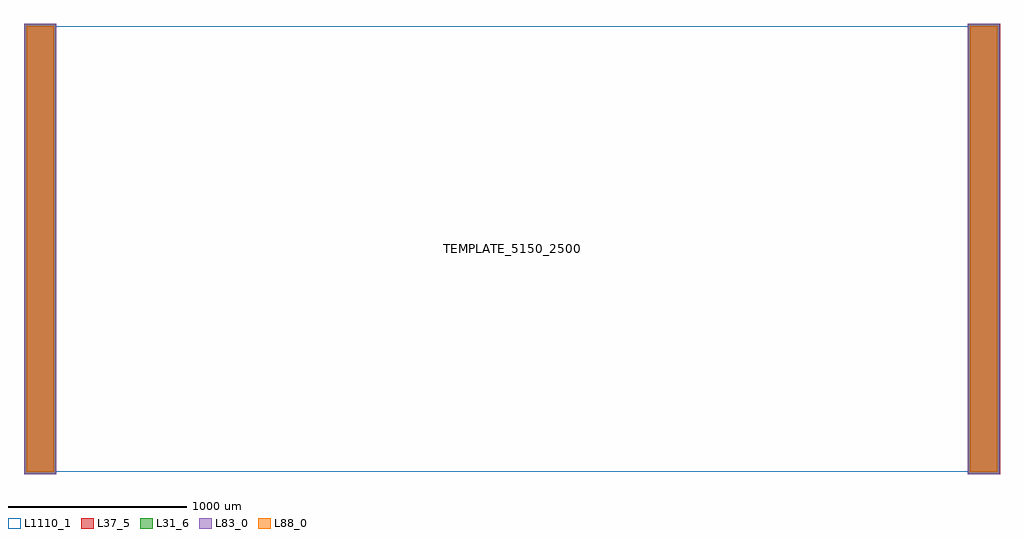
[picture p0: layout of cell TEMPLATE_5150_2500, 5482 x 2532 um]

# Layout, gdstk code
import gdstk
lib = gdstk.Library(unit=1e-6, precision=1e-09)
def R(c, l, rs):  # rectangles x0, y0, x1, y1
    for r in rs: c.add(gdstk.rectangle(r[:2], r[2:], *l))
def P(c, l, *ps):  # polygons
    for p in ps: c.add(gdstk.Polygon(p, *l))
L31_6 = (31, 6)
L37_5 = (37, 5)
L83_0 = (83, 0)
L88_0 = (88, 0)
L1110_1 = (1110, 1)

template_5150_2500 = lib.new_cell('TEMPLATE_5150_2500')
R(template_5150_2500, L31_6, [(-165.2,-15.2,15.2,2515.2), (5134.8,-15.2,5315.2,2515.2)])
R(template_5150_2500, L37_5, [(-166,-16,16,2516), (5134,-16,5316,2516)])
R(template_5150_2500, L83_0, [(-165,-15,15,2515), (5135,-15,5315,2515)])
R(template_5150_2500, L88_0, [(-150,0,0,2500), (5150,0,5300,2500)])
P(template_5150_2500, L1110_1, [(-166,-16),(-166,2516),(16,2516),(16,2500),(5134,2500),(5134,2516),(5316,2516),(5316,-16),(5134,-16),(5134,0),(16,0),(16,-16)])
template_5150_2500.add(gdstk.Label('TEMPLATE_5150_2500', (2575,1250.5), layer=1002, texttype=0))
template_5150_2500.add(gdstk.Label('ISIPP50G_2_3_0', (2575,1250), layer=1002, texttype=0))
template_5150_2500.add(gdstk.Label('imec_cell', (2575,1249.5), layer=1002, texttype=0))

lib.write_gds('TEMPLATE_5150_2500.gds')
